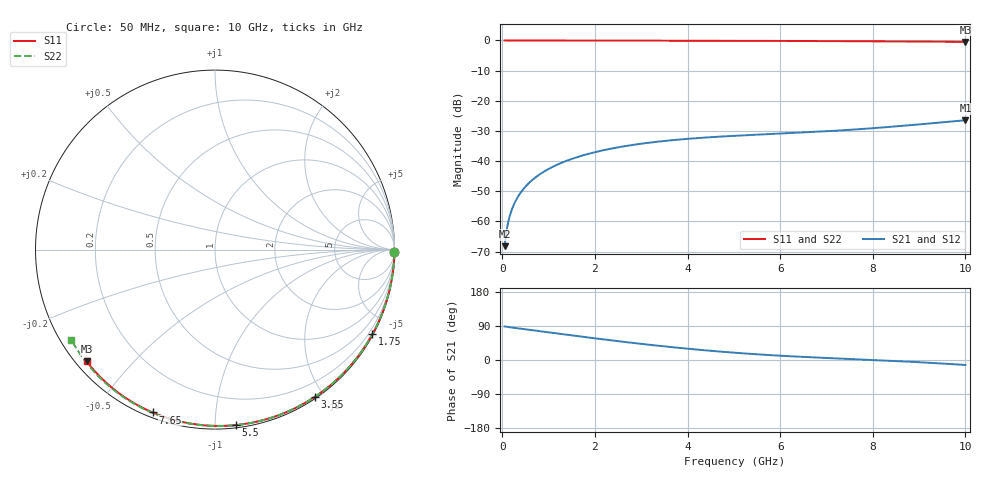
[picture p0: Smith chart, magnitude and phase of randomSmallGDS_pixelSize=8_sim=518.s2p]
! freq	dB(S11)	phase(S11)	dB(S12)	phase(S12)
!  dB(S21)	phase(S21)	dB(S22)	phase(S22)
!S-par simulation data
#  GHz  S  DB  R 50
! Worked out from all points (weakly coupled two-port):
!   200 points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, 50 MHz to 10 GHz, reference 50 ohm
!   highest |S21| = -26.46 dB at 10 GHz (marker M1); lowest = -68.2 dB at 50 MHz (marker M2)
!   lowest |S11| = -0.5 dB at 10 GHz (marker M3), VSWR 37.50, Z = 1.52 - j18.7 ohm
!   |S11| at or under -10 dB: nowhere
!   |S22| runs from -0.5 to 0.0 dB; largest |S21 - S12| = 0
!   S11 on the Smith chart (normalised r, x): 50 MHz: open; 1.75 GHz: 0.04, -3.97; 3.55 GHz: 0.02, -1.89; 5.5 GHz: 0.02, -1.12; 7.65 GHz: 0.02, -0.69; 10 GHz: 0.03, -0.37
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0.05  -0.00 -0.8  -68.22 88.7  -68.22 88.7  -0.00 -0.9
0.1  -0.00 -1.6  -62.25 87.5  -62.25 87.5  -0.00 -1.7
0.15  -0.00 -2.5  -58.78 86.6  -58.78 86.6  -0.00 -2.6
0.2  -0.00 -3.3  -56.33 85.7  -56.33 85.7  -0.00 -3.5
0.25  -0.00 -4.1  -54.42 84.9  -54.42 84.9  -0.00 -4.4
0.35  -0.00 -5.7  -51.54 83.4  -51.54 83.4  -0.00 -6.1
0.5  -0.01 -8.2  -48.49 81.1  -48.49 81.1  -0.01 -8.7
0.7  -0.01 -11.4  -45.62 77.9  -45.62 77.9  -0.01 -12.2
1  -0.02 -16.3  -42.61 73.0  -42.61 73.0  -0.02 -17.3
1.35  -0.03 -21.9  -40.13 67.4  -40.13 67.4  -0.03 -23.3
1.75  -0.04 -28.2  -38.07 61.1  -38.07 61.1  -0.04 -30.0
2.5  -0.05 -40.0  -35.44 49.7  -35.44 49.7  -0.06 -42.4
3.4  -0.07 -53.6  -33.49 37.2  -33.49 37.2  -0.08 -56.9
3.55  -0.08 -55.8  -33.25 35.3  -33.25 35.3  -0.08 -59.2
4.3  -0.10 -66.7  -32.28 26.4  -32.28 26.4  -0.10 -70.7
5.05  -0.12 -77.2  -31.59 18.9  -31.59 18.9  -0.13 -81.8
5.5  -0.14 -83.3  -31.25 15.0  -31.25 15.0  -0.14 -88.3
6.7  -0.19 -99.0  -30.37 7.0  -30.37 7.0  -0.20 -104.9
7.65  -0.25 -110.9  -29.49 2.0  -29.49 2.0  -0.27 -117.6
8.35  -0.30 -119.4  -28.68 -1.8  -28.68 -1.8  -0.32 -126.7
9.2  -0.38 -129.6  -27.57 -7.2  -27.57 -7.2  -0.40 -137.6
10  -0.46 -139.0  -26.46 -13.1  -26.46 -13.1  -0.49 -147.9
